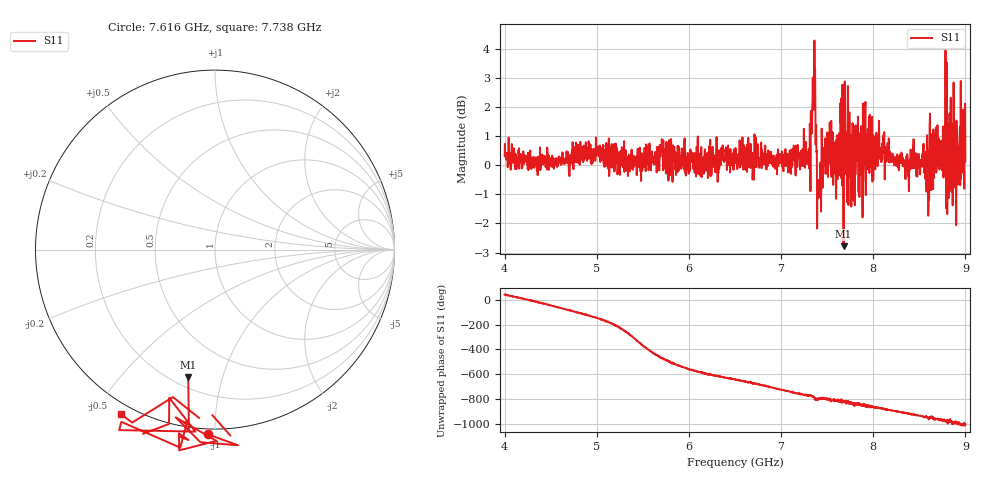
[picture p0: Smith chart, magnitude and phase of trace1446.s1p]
! Created with skrf 1.8.0 (http://scikit-rf.org).
# Hz S RI R 50.0
!freq ReS11 ImS11
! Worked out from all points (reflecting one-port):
!   1601 points, 4 GHz to 9 GHz, reference 50 ohm
!   lowest |S11| = -2.8 dB at 7.678 GHz (marker M1), VSWR 6.30, Z = 12.9 - j38.9 ohm
!   phase of S11 starts at 42 deg and turns -1047 deg over the sweep
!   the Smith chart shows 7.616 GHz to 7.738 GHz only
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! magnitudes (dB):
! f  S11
! 4 GHz  0.3
! 4.625 GHz  0.2
! 5.016 GHz  0.6
! 5.25 GHz  -0.3
! 5.875 GHz  -0.2
! 6.5 GHz  0.2
! 7.125 GHz  0.5
! 7.294 GHz  0.2
! 7.347 GHz  2.3
! 7.362 GHz  4.3
! 7.397 GHz  -1.1
! 7.412 GHz  -0.9
! 7.519 GHz  0.7
! 7.591 GHz  0.0
! 7.669 GHz  1.7
! 7.678 GHz  -2.8
! 7.75 GHz  -0.1
! 7.784 GHz  -0.1
! 7.928 GHz  1.1
! 8.375 GHz  -0.1
! 8.431 GHz  0.6
! 8.581 GHz  0.1
! 8.634 GHz  0.6
! 8.766 GHz  1.2
! 8.775 GHz  1.1
! 8.875 GHz  0.7
! 8.956 GHz  -0.1
! 9 GHz  0.1
